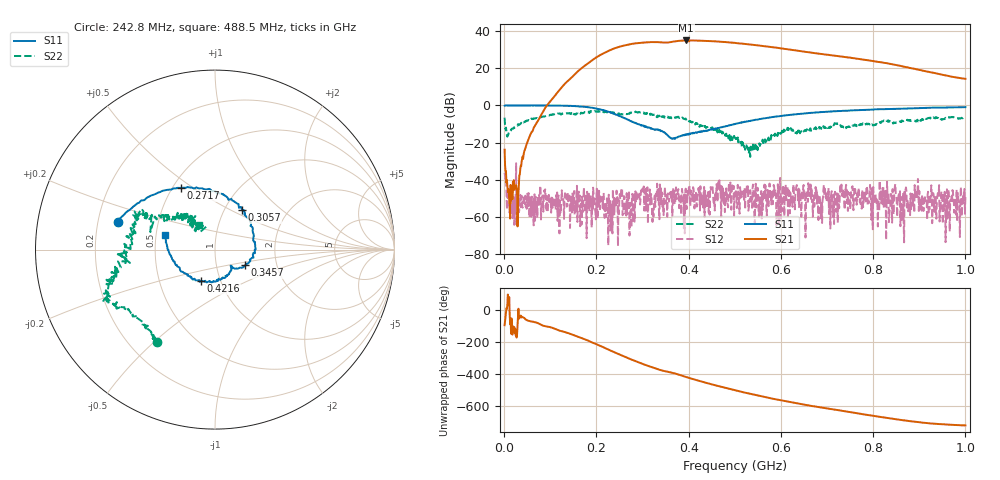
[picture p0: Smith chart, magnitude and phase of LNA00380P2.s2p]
! Created with skrf 1.9.0 (http://scikit-rf.org).
# Hz S RI R 50.0
!freq ReS11 ImS11 ReS21 ImS21 ReS12 ImS12 ReS22 ImS22
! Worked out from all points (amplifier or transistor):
!   1001 points, 1 MHz to 1 GHz, reference 50 ohm
!   highest |S21| = 35.0 dB at 394.6 MHz (marker M1)
!   |S21| within 3 dB of that: 255.9 MHz to 561.2 MHz (305.2 MHz wide, 74.7 % of centre) (the widest 1 of 2)
!   unconditionally stable (mu >= 1): 3.816 MHz to 67.62 MHz; 235.9 MHz to 310.4 MHz; 310.7 MHz to end of sweep (the widest 3 of 31)
!   at 166.8 MHz: K = 1.33, MAG = 32.9 dB, |S12| = -52.9 dB
!   at 500.5 MHz: K = 2.63, MAG = 34.3 dB, |S12| = -49.0 dB
!   at 1 GHz: K = 4.14, MAG = 22.3 dB, |S12| = -48.5 dB
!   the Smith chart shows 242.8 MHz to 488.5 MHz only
!   S11 on the Smith chart (normalised r, x): 242.8 MHz: 0.28, +0.13; 271.7 MHz: 0.55, +0.45; 305.7 MHz: 1.21, +0.58; 345.7 MHz: 1.38, -0.25; 421.6 MHz: 0.81, -0.30; 488.5 MHz: 0.56, +0.10
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1000000  0.9837 0.00473  -0.0082 -0.0639  -0.0137 0.00686  0.3425 0.3194
1.07893e8  0.5246 -0.8468  -0.7747 -1.509  -0.00237 -0.001  0.4468 -0.3809
1.67833e8  -0.2433 -0.898  -10.08 -0.4566  0.000527 0.000317  0.0364 -0.628
2.09791e8  -0.6733 -0.3762  -15.57 17.35  0.00116 -0.00272  -0.1872 -0.66
2.42758e8  -0.543 0.153  0.6221 35.55  -0.000152 -0.00181  -0.3226 -0.5136
2.71729e8  -0.1904 0.3435  26.42 35.49  0.000214 -0.000227  -0.5044 -0.3212
3.05695e8  0.1516 0.2221  47.8 13.09  0.00179 0.00236  -0.5787 -0.1765
3.34666e8  0.2226 -0.0205  49.21 -12.02  9.16e-05 0.00559  -0.4968 -0.0513
3.45655e8  0.1689 -0.0863  45.86 -19.05  0.00109 0.0002  -0.5056 0.0322
3.71629e8  0.0901 -0.0966  41.34 -34.44  0.00359 0.00144  -0.4348 0.1789
3.94606e8  0.0483 -0.158  27.32 -49.28  0.00288 0.00205  -0.3754 0.189
4.21579e8  -0.0789 -0.1769  5.748 -55.16  0.00368 0.00472  -0.2291 0.1723
4.5055e8  -0.1971 -0.1001  -15.88 -51.81  0.00567 -0.000753  -0.1476 0.2073
4.88512e8  -0.278 0.0786  -35.42 -35.07  0.00173 0.00294  -0.0873 0.1345
5.005e8  -0.2799 0.1451  -39.43 -28.48  -0.00291 0.00206  -0.0796 0.1097
5.39461e8  -0.1934 0.3496  -42.36 -7.447  0.00724 0.00135  -0.087 0.0108
5.84416e8  0.00433 0.493  -35.1 11.28  0.00418 -0.00589  -0.1417 -0.0629
6.23377e8  0.1883 0.5281  -24.2 19.93  0.000403 -0.00324  -0.1882 -0.0956
6.67333e8  0.3945 0.4934  -12.31 23.08  0.00228 0.00102  -0.2223 -0.03
7.55245e8  0.6811 0.2787  4.087 18.45  -0.00407 -0.00528  -0.2863 0.0318
8.34166e8  0.7993 0.0205  9.974 8.914  0.000691 0.000186  -0.3732 0.019
1e9  0.7319 -0.5241  5.204 -0.3139  -0.00181 -0.00329  -0.2983 0.3593
